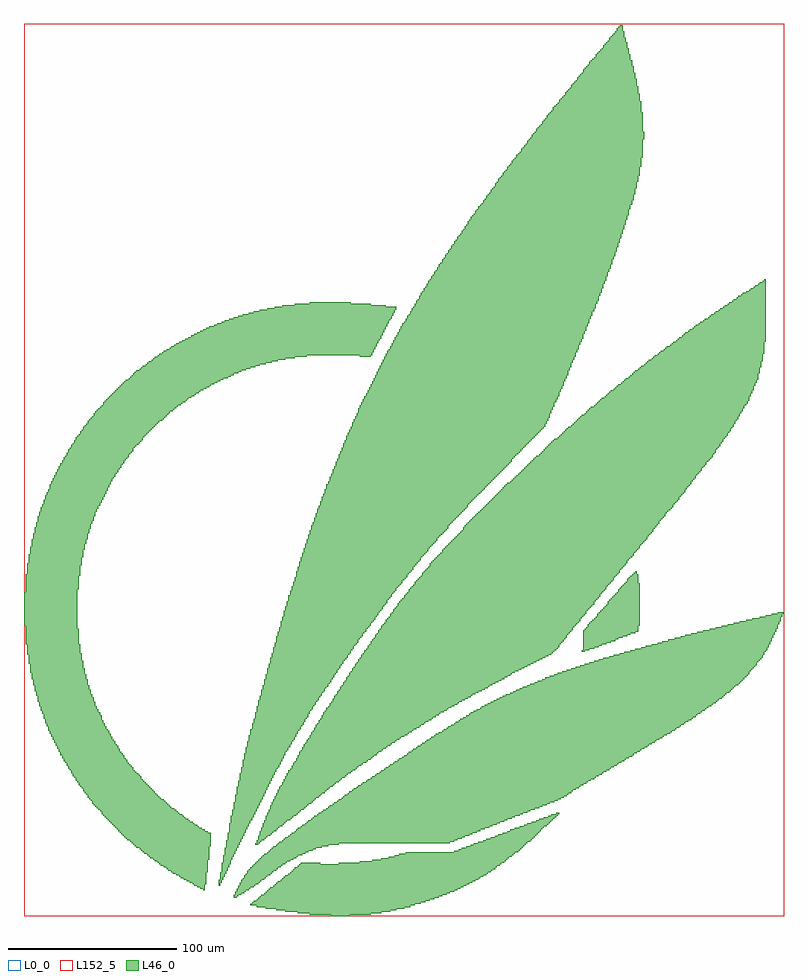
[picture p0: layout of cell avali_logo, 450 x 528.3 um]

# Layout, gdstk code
import gdstk
lib = gdstk.Library(unit=1e-6, precision=1e-09)
def R(c, l, rs):  # rectangles x0, y0, x1, y1
    for r in rs: c.add(gdstk.rectangle(r[:2], r[2:], *l))
L0_0 = (0, 0)
L46_0 = (46, 0)
L152_5 = (152, 5)

avali_logo = lib.new_cell('avali_logo')
R(avali_logo, L0_0, [(0,0,450,528.3)])
R(avali_logo, L46_0, [(181.8,0,192.6,0.9), (169.2,0.9,205.2,1.8), (162,1.8,211.5,2.7), (154.8,2.7,216.9,3.6), (149.4,3.6,220.5,4.5), (143.1,4.5,225,5.4), (137.7,5.4,228.6,6.3), (134.1,6.3,231.3,7.2), (135,7.2,234.9,8.1), (135.9,8.1,237.6,9), (137.7,9,240.3,9.9), (138.6,9.9,243,10.8), (124.2,10.8,126,11.7), (139.5,10.8,245.7,11.7), (124.2,11.7,126.9,12.6), (140.4,11.7,247.5,12.6), (125.1,12.6,128.7,13.5), (142.2,12.6,250.2,13.5), (125.1,13.5,130.5,14.4), (143.1,13.5,252,14.4), (126,14.4,131.4,15.3), (144,14.4,254.7,15.3), (106.2,15.3,107.1,16.2), (126,15.3,133.2,16.2), (144.9,15.3,256.5,16.2), (104.4,16.2,107.1,17.1), (126.9,16.2,134.1,17.1), (145.8,16.2,258.3,17.1), (102.6,17.1,107.1,18), (126.9,17.1,135.9,18), (147.6,17.1,260.1,18), (100.8,18,107.1,18.9), (115.2,18,116.1,19.8), (127.8,18,136.8,18.9), (148.5,18,261.9,18.9), (99.9,18.9,108,19.8), (127.8,18.9,138.6,19.8), (149.4,18.9,263.7,19.8), (98.1,19.8,108,20.7), (115.2,19.8,117,21.6), (128.7,19.8,139.5,20.7), (150.3,19.8,265.5,20.7), (96.3,20.7,108,21.6), (128.7,20.7,140.4,21.6), (152.1,20.7,267.3,21.6), (94.5,21.6,108,22.5), (116.1,21.6,117.9,23.4), (129.6,21.6,142.2,22.5), (153,21.6,269.1,22.5), (92.7,22.5,108,23.4), (130.5,22.5,143.1,23.4), (153.9,22.5,270,23.4), (91.8,23.4,108,24.3), (116.1,23.4,118.8,25.2), (130.5,23.4,144,24.3), (154.8,23.4,271.8,24.3), (90,24.3,108,25.2), (131.4,24.3,145.8,25.2), (156.6,24.3,273.6,25.2), (88.2,25.2,108,26.1), (116.1,25.2,119.7,26.1), (132.3,25.2,146.7,26.1), (157.5,25.2,274.5,26.1), (87.3,26.1,108.9,27), (117,26.1,119.7,27), (132.3,26.1,147.6,27), (158.4,26.1,276.3,27), (85.5,27,108.9,27.9), (117,27,120.6,28.8), (133.2,27,149.4,27.9), (159.3,27,277.2,27.9), (84.6,27.9,108.9,28.8), (134.1,27.9,150.3,28.8), (160.2,27.9,279,28.8), (82.8,28.8,108.9,29.7), (117,28.8,121.5,30.6), (135,28.8,152.1,29.7), (162,28.8,279.9,29.7), (81,29.7,108.9,30.6), (135.9,29.7,153,30.6), (162.9,29.7,281.7,30.6), (80.1,30.6,108.9,31.5), (117,30.6,122.4,31.5), (136.8,30.6,154.8,31.5), (163.8,30.6,175.5,31.5), (186.3,30.6,282.6,31.5), (79.2,31.5,108.9,32.4), (117.9,31.5,122.4,33.3), (137.7,31.5,155.7,32.4), (198.9,31.5,284.4,32.4), (77.4,32.4,108.9,33.3), (138.6,32.4,157.5,33.3), (206.1,32.4,285.3,33.3), (76.5,33.3,109.8,34.2), (117.9,33.3,123.3,35.1), (139.5,33.3,159.3,34.2), (211.5,33.3,286.2,34.2), (74.7,34.2,109.8,35.1), (140.4,34.2,161.1,35.1), (216,34.2,287.1,35.1), (73.8,35.1,109.8,36), (117.9,35.1,124.2,36), (141.3,35.1,162,36), (219.6,35.1,288.9,36), (72.9,36,109.8,36.9), (118.8,36,124.2,36.9), (142.2,36,164.7,36.9), (222.3,36,289.8,36.9), (71.1,36.9,109.8,37.8), (118.8,36.9,125.1,38.7), (144,36.9,166.5,37.8), (225.9,36.9,290.7,37.8), (70.2,37.8,109.8,38.7), (144.9,37.8,168.3,38.7), (254.7,37.8,292.5,38.7), (69.3,38.7,109.8,39.6), (118.8,38.7,126,40.5), (145.8,38.7,171,39.6), (257.4,38.7,293.4,39.6), (68.4,39.6,109.8,40.5), (146.7,39.6,172.8,40.5), (259.2,39.6,294.3,40.5), (66.6,40.5,109.8,41.4), (119.7,40.5,126.9,42.3), (147.6,40.5,176.4,41.4), (261.9,40.5,295.2,41.4), (65.7,41.4,110.7,42.3), (149.4,41.4,180,42.3), (264.6,41.4,296.1,42.3), (64.8,42.3,110.7,43.2), (119.7,42.3,127.8,44.1), (136.8,42.3,138.6,43.2), (150.3,42.3,186.3,43.2), (266.4,42.3,297,43.2), (63.9,43.2,110.7,44.1), (137.7,43.2,139.5,44.1), (151.2,43.2,252,44.1), (269.1,43.2,297.9,44.1), (63,44.1,110.7,45), (119.7,44.1,128.7,45), (137.7,44.1,140.4,45), (153,44.1,254.7,45), (271.8,44.1,299.7,45), (61.2,45,110.7,45.9), (120.6,45,128.7,45.9), (138.6,45,142.2,45.9), (153.9,45,256.5,45.9), (273.6,45,300.6,45.9), (60.3,45.9,110.7,46.8), (120.6,45.9,129.6,47.7), (138.6,45.9,143.1,46.8), (154.8,45.9,259.2,46.8), (276.3,45.9,301.5,46.8), (59.4,46.8,110.7,47.7), (138.6,46.8,144,47.7), (156.6,46.8,261,47.7), (279,46.8,302.4,47.7), (58.5,47.7,110.7,48.6), (120.6,47.7,130.5,49.5), (139.5,47.7,145.8,48.6), (157.5,47.7,263.7,48.6), (280.8,47.7,303.3,48.6), (57.6,48.6,110.7,49.5), (139.5,48.6,146.7,49.5), (158.4,48.6,265.5,49.5), (283.5,48.6,304.2,49.5), (56.7,49.5,108.9,50.4), (121.5,49.5,131.4,51.3), (139.5,49.5,147.6,50.4), (160.2,49.5,268.2,50.4), (286.2,49.5,305.1,50.4), (55.8,50.4,107.1,51.3), (140.4,50.4,149.4,51.3), (161.1,50.4,270,51.3), (288,50.4,306,51.3), (54.9,51.3,105.3,52.2), (121.5,51.3,132.3,53.1), (140.4,51.3,150.3,52.2), (162,51.3,272.7,52.2), (290.7,51.3,306.9,52.2), (54,52.2,103.5,53.1), (141.3,52.2,151.2,53.1), (163.8,52.2,275.4,53.1), (293.4,52.2,307.8,53.1), (53.1,53.1,102.6,54), (121.5,53.1,133.2,54.9), (141.3,53.1,153,54), (164.7,53.1,277.2,54), (296.1,53.1,309.6,54), (52.2,54,100.8,54.9), (141.3,54,153.9,54.9), (166.5,54,279.9,54.9), (297.9,54,310.5,54.9), (51.3,54.9,99.9,55.8), (122.4,54.9,134.1,56.7), (142.2,54.9,154.8,55.8), (167.4,54.9,281.7,55.8), (300.6,54.9,311.4,55.8), (50.4,55.8,98.1,56.7), (142.2,55.8,155.7,56.7), (168.3,55.8,284.4,56.7), (303.3,55.8,312.3,56.7), (49.5,56.7,97.2,57.6), (122.4,56.7,135,58.5), (143.1,56.7,157.5,57.6), (170.1,56.7,286.2,57.6), (305.1,56.7,313.2,57.6), (48.6,57.6,95.4,58.5), (143.1,57.6,158.4,58.5), (171,57.6,288.9,58.5), (307.8,57.6,314.1,58.5), (47.7,58.5,94.5,59.4), (122.4,58.5,135.9,59.4), (143.1,58.5,159.3,59.4), (171.9,58.5,290.7,59.4), (310.5,58.5,315,59.4), (46.8,59.4,93.6,60.3), (123.3,59.4,135.9,60.3), (144,59.4,161.1,60.3), (173.7,59.4,293.4,60.3), (312.3,59.4,315.9,60.3), (45.9,60.3,91.8,61.2), (123.3,60.3,136.8,62.1), (144,60.3,162,61.2), (174.6,60.3,295.2,61.2), (315,60.3,316.8,61.2), (45.9,61.2,90.9,62.1), (144.9,61.2,162.9,62.1), (176.4,61.2,297.9,62.1), (45,62.1,90,63), (123.3,62.1,137.7,63), (144.9,62.1,163.8,63), (177.3,62.1,299.7,63), (44.1,63,89.1,63.9), (124.2,63,137.7,63.9), (145.8,63,165.6,63.9), (179.1,63,302.4,63.9), (43.2,63.9,87.3,64.8), (124.2,63.9,138.6,65.7), (145.8,63.9,166.5,64.8), (180,63.9,305.1,64.8), (42.3,64.8,86.4,65.7), (145.8,64.8,167.4,65.7), (180.9,64.8,306.9,65.7), (41.4,65.7,85.5,66.6), (124.2,65.7,139.5,67.5), (146.7,65.7,168.3,66.6), (182.7,65.7,309.6,66.6), (40.5,66.6,84.6,67.5), (146.7,66.6,170.1,67.5), (183.6,66.6,311.4,67.5), (40.5,67.5,83.7,68.4), (125.1,67.5,140.4,69.3), (147.6,67.5,171,68.4), (185.4,67.5,314.1,68.4), (39.6,68.4,82.8,69.3), (147.6,68.4,171.9,69.3), (186.3,68.4,315.9,69.3), (38.7,69.3,81,70.2), (125.1,69.3,141.3,71.1), (148.5,69.3,172.8,70.2), (188.1,69.3,317.7,70.2), (37.8,70.2,80.1,71.1), (148.5,70.2,174.6,71.1), (189,70.2,319.5,71.1), (37.8,71.1,79.2,72), (125.1,71.1,142.2,72), (149.4,71.1,175.5,72), (189.9,71.1,321.3,72), (36.9,72,78.3,72.9), (126,72,142.2,72.9), (149.4,72,176.4,72.9), (191.7,72,322.2,72.9), (36,72.9,77.4,73.8), (126,72.9,143.1,74.7), (150.3,72.9,178.2,73.8), (192.6,72.9,324,73.8), (35.1,73.8,76.5,74.7), (150.3,73.8,179.1,74.7), (194.4,73.8,324.9,74.7), (35.1,74.7,75.6,75.6), (126,74.7,144,76.5), (151.2,74.7,180,75.6), (195.3,74.7,326.7,75.6), (34.2,75.6,74.7,76.5), (151.2,75.6,180.9,76.5), (197.1,75.6,328.5,76.5), (33.3,76.5,73.8,77.4), (126.9,76.5,144.9,78.3), (152.1,76.5,182.7,77.4), (198,76.5,329.4,77.4), (32.4,77.4,72.9,78.3), (153,77.4,183.6,78.3), (199.8,77.4,331.2,78.3), (32.4,78.3,72,79.2), (126.9,78.3,145.8,80.1), (153,78.3,184.5,79.2), (200.7,78.3,333,79.2), (31.5,79.2,71.1,80.1), (153.9,79.2,186.3,80.1), (202.5,79.2,333.9,80.1), (30.6,80.1,70.2,81), (127.8,80.1,146.7,81.9), (153.9,80.1,187.2,81), (203.4,80.1,335.7,81), (30.6,81,69.3,81.9), (154.8,81,188.1,81.9), (205.2,81,337.5,81.9), (29.7,81.9,69.3,82.8), (127.8,81.9,147.6,83.7), (154.8,81.9,189.9,82.8), (206.1,81.9,338.4,82.8), (28.8,82.8,68.4,83.7), (155.7,82.8,190.8,83.7), (207.9,82.8,340.2,83.7), (28.8,83.7,67.5,84.6), (127.8,83.7,148.5,84.6), (155.7,83.7,191.7,84.6), (208.8,83.7,342,84.6), (27.9,84.6,66.6,85.5), (128.7,84.6,148.5,85.5), (156.6,84.6,193.5,85.5), (210.6,84.6,342.9,85.5), (27.9,85.5,65.7,86.4), (128.7,85.5,149.4,87.3), (156.6,85.5,194.4,86.4), (211.5,85.5,344.7,86.4), (27,86.4,64.8,87.3), (157.5,86.4,196.2,87.3), (213.3,86.4,346.5,87.3), (26.1,87.3,64.8,88.2), (128.7,87.3,150.3,88.2), (158.4,87.3,197.1,88.2), (214.2,87.3,347.4,88.2), (26.1,88.2,63.9,89.1), (129.6,88.2,151.2,90), (158.4,88.2,198,89.1), (216,88.2,349.2,89.1), (25.2,89.1,63,90), (159.3,89.1,199.8,90), (216.9,89.1,351,90), (25.2,90,62.1,90.9), (129.6,90,152.1,91.8), (159.3,90,200.7,90.9), (218.7,90,351.9,90.9), (24.3,90.9,61.2,91.8), (160.2,90.9,202.5,91.8), (219.6,90.9,353.7,91.8), (23.4,91.8,61.2,92.7), (129.6,91.8,153,92.7), (161.1,91.8,203.4,92.7), (221.4,91.8,355.5,92.7), (23.4,92.7,60.3,93.6), (130.5,92.7,153,93.6), (161.1,92.7,205.2,93.6), (222.3,92.7,356.4,93.6), (22.5,93.6,59.4,95.4), (130.5,93.6,153.9,95.4), (162,93.6,206.1,94.5), (224.1,93.6,358.2,94.5), (162,94.5,207,95.4), (225,94.5,360,95.4), (21.6,95.4,58.5,96.3), (130.5,95.4,154.8,96.3), (162.9,95.4,208.8,96.3), (226.8,95.4,360.9,96.3), (21.6,96.3,57.6,97.2), (131.4,96.3,154.8,97.2), (162.9,96.3,209.7,97.2), (227.7,96.3,362.7,97.2), (20.7,97.2,56.7,99), (131.4,97.2,155.7,98.1), (163.8,97.2,211.5,98.1), (229.5,97.2,364.5,98.1), (131.4,98.1,156.6,99.9), (164.7,98.1,212.4,99), (230.4,98.1,365.4,99), (19.8,99,55.8,100.8), (164.7,99,214.2,99.9), (232.2,99,367.2,99.9), (132.3,99.9,157.5,101.7), (165.6,99.9,215.1,100.8), (233.1,99.9,369,100.8), (18.9,100.8,54.9,101.7), (165.6,100.8,216.9,101.7), (234.9,100.8,369.9,101.7), (18.9,101.7,54,102.6), (132.3,101.7,158.4,103.5), (166.5,101.7,217.8,102.6), (235.8,101.7,371.7,102.6), (18,102.6,54,103.5), (167.4,102.6,219.6,103.5), (237.6,102.6,373.5,103.5), (18,103.5,53.1,104.4), (133.2,103.5,159.3,104.4), (167.4,103.5,220.5,104.4), (238.5,103.5,374.4,104.4), (17.1,104.4,52.2,106.2), (133.2,104.4,160.2,106.2), (168.3,104.4,222.3,105.3), (240.3,104.4,376.2,105.3), (169.2,105.3,223.2,106.2), (241.2,105.3,378,106.2), (16.2,106.2,51.3,108), (133.2,106.2,161.1,107.1), (169.2,106.2,225,107.1), (243,106.2,378.9,107.1), (134.1,107.1,161.1,108), (170.1,107.1,226.8,108), (243.9,107.1,380.7,108), (15.3,108,50.4,109.8), (134.1,108,162,109.8), (170.1,108,227.7,108.9), (245.7,108,382.5,108.9), (171,108.9,229.5,109.8), (247.5,108.9,383.4,109.8), (14.4,109.8,49.5,110.7), (134.1,109.8,162.9,110.7), (171.9,109.8,230.4,110.7), (248.4,109.8,385.2,110.7), (14.4,110.7,48.6,112.5), (135,110.7,163.8,112.5), (171.9,110.7,232.2,111.6), (250.2,110.7,386.1,111.6), (172.8,111.6,234,112.5), (251.1,111.6,387.9,112.5), (13.5,112.5,47.7,114.3), (135,112.5,164.7,113.4), (172.8,112.5,234.9,113.4), (252.9,112.5,388.8,113.4), (135,113.4,165.6,114.3), (173.7,113.4,236.7,114.3), (254.7,113.4,390.6,114.3), (12.6,114.3,46.8,116.1), (135.9,114.3,165.6,115.2), (174.6,114.3,237.6,115.2), (255.6,114.3,391.5,115.2), (135.9,115.2,166.5,117), (174.6,115.2,239.4,116.1), (257.4,115.2,393.3,116.1), (12.6,116.1,45.9,117), (175.5,116.1,241.2,117), (258.3,116.1,395.1,117), (11.7,117,45.9,118.8), (136.8,117,167.4,117.9), (176.4,117,242.1,117.9), (260.1,117,396,117.9), (136.8,117.9,168.3,119.7), (176.4,117.9,243.9,118.8), (261.9,117.9,397.8,118.8), (11.7,118.8,45,119.7), (177.3,118.8,245.7,119.7), (263.7,118.8,398.7,119.7), (10.8,119.7,45,120.6), (136.8,119.7,169.2,120.6), (177.3,119.7,246.6,120.6), (264.6,119.7,400.5,120.6), (10.8,120.6,44.1,121.5), (137.7,120.6,169.2,121.5), (178.2,120.6,248.4,121.5), (266.4,120.6,401.4,121.5), (9.9,121.5,44.1,122.4), (137.7,121.5,170.1,122.4), (179.1,121.5,250.2,122.4), (268.2,121.5,403.2,122.4), (9.9,122.4,43.2,124.2), (137.7,122.4,171,124.2), (179.1,122.4,251.1,123.3), (270,122.4,404.1,123.3), (180,123.3,252.9,124.2), (270.9,123.3,405,124.2), (9,124.2,42.3,126.9), (138.6,124.2,171.9,125.1), (180.9,124.2,254.7,125.1), (272.7,124.2,406.8,125.1), (138.6,125.1,172.8,126.9), (180.9,125.1,256.5,126), (274.5,125.1,407.7,126), (181.8,126,257.4,126.9), (276.3,126,409.5,126.9), (8.1,126.9,41.4,129.6), (138.6,126.9,173.7,127.8), (182.7,126.9,259.2,127.8), (278.1,126.9,410.4,127.8), (139.5,127.8,174.6,129.6), (182.7,127.8,261,128.7), (279.9,127.8,411.3,128.7), (183.6,128.7,262.8,129.6), (281.7,128.7,413.1,129.6), (8.1,129.6,40.5,130.5), (139.5,129.6,175.5,130.5), (183.6,129.6,264.6,130.5), (283.5,129.6,414,130.5), (7.2,130.5,40.5,131.4), (140.4,130.5,176.4,132.3), (184.5,130.5,265.5,131.4), (285.3,130.5,414.9,131.4), (7.2,131.4,39.6,133.2), (185.4,131.4,267.3,132.3), (288,131.4,415.8,132.3), (140.4,132.3,177.3,133.2), (185.4,132.3,269.1,133.2), (289.8,132.3,417.6,133.2), (6.3,133.2,39.6,134.1), (140.4,133.2,178.2,134.1), (186.3,133.2,270.9,134.1), (291.6,133.2,418.5,134.1), (6.3,134.1,38.7,136.8), (141.3,134.1,178.2,135), (187.2,134.1,272.7,135), (293.4,134.1,419.4,135), (141.3,135,179.1,135.9), (187.2,135,274.5,135.9), (295.2,135,420.3,135.9), (141.3,135.9,180,136.8), (188.1,135.9,275.4,136.8), (297.9,135.9,421.2,136.8), (5.4,136.8,37.8,140.4), (142.2,136.8,180,137.7), (189,136.8,277.2,137.7), (299.7,136.8,423,137.7), (142.2,137.7,180.9,138.6), (189,137.7,279,138.6), (302.4,137.7,423.9,138.6), (142.2,138.6,181.8,140.4), (189.9,138.6,280.8,139.5), (304.2,138.6,424.8,139.5), (190.8,139.5,282.6,140.4), (306.9,139.5,425.7,140.4), (4.5,140.4,36.9,143.1), (143.1,140.4,182.7,141.3), (190.8,140.4,284.4,141.3), (308.7,140.4,426.6,141.3), (143.1,141.3,183.6,143.1), (191.7,141.3,286.2,142.2), (311.4,141.3,427.5,142.2), (192.6,142.2,288,143.1), (314.1,142.2,428.4,143.1), (4.5,143.1,36,144), (144,143.1,184.5,144), (192.6,143.1,288.9,144), (315.9,143.1,429.3,144), (3.6,144,36,146.7), (144,144,185.4,145.8), (193.5,144,290.7,144.9), (318.6,144,429.3,144.9), (194.4,144.9,292.5,145.8), (321.3,144.9,430.2,145.8), (144,145.8,186.3,146.7), (194.4,145.8,294.3,146.7), (324,145.8,431.1,146.7), (3.6,146.7,35.1,149.4), (144.9,146.7,187.2,148.5), (195.3,146.7,296.1,147.6), (326.7,146.7,432,147.6), (196.2,147.6,297.9,148.5), (329.4,147.6,432.9,148.5), (144.9,148.5,188.1,149.4), (196.2,148.5,299.7,149.4), (332.1,148.5,433.8,149.4), (2.7,149.4,35.1,151.2), (145.8,149.4,189,151.2), (197.1,149.4,301.5,150.3), (334.8,149.4,433.8,150.3), (198,150.3,303.3,151.2), (337.5,150.3,434.7,151.2), (2.7,151.2,34.2,154.8), (145.8,151.2,189.9,152.1), (198,151.2,305.1,152.1), (340.2,151.2,435.6,152.1), (145.8,152.1,190.8,153), (198.9,152.1,306.9,153), (342.9,152.1,436.5,153), (146.7,153,191.7,154.8), (199.8,153,308.7,153.9), (346.5,153,437.4,153.9), (199.8,153.9,310.5,154.8), (349.2,153.9,437.4,154.8), (1.8,154.8,34.2,155.7), (146.7,154.8,192.6,155.7), (200.7,154.8,312.3,155.7), (352.8,154.8,438.3,155.7), (1.8,155.7,33.3,161.1), (147.6,155.7,193.5,157.5), (201.6,155.7,313.2,156.6), (355.5,155.7,438.3,156.6), (201.6,156.6,314.1,157.5), (330.3,156.6,332.1,157.5), (359.1,156.6,439.2,157.5), (147.6,157.5,194.4,158.4), (202.5,157.5,315,158.4), (331.2,157.5,334.8,158.4), (361.8,157.5,440.1,158.4), (147.6,158.4,195.3,159.3), (203.4,158.4,315.9,159.3), (331.2,158.4,337.5,159.3), (365.4,158.4,440.1,159.3), (148.5,159.3,195.3,160.2), (203.4,159.3,316.8,160.2), (331.2,159.3,340.2,160.2), (368.1,159.3,441,160.2), (148.5,160.2,196.2,161.1), (204.3,160.2,316.8,161.1), (331.2,160.2,342,161.1), (371.7,160.2,441,161.1), (0.9,161.1,32.4,170.1), (148.5,161.1,197.1,162), (205.2,161.1,317.7,162), (331.2,161.1,344.7,162), (375.3,161.1,441.9,162), (149.4,162,198,163.8), (205.2,162,318.6,162.9), (331.2,162,347.4,162.9), (378,162,441.9,162.9), (206.1,162.9,319.5,163.8), (331.2,162.9,350.1,163.8), (381.6,162.9,442.8,163.8), (149.4,163.8,198.9,164.7), (207,163.8,320.4,164.7), (331.2,163.8,351.9,164.7), (385.2,163.8,442.8,164.7), (149.4,164.7,199.8,165.6), (207.9,164.7,321.3,166.5), (331.2,164.7,354.6,165.6), (388.8,164.7,443.7,165.6), (150.3,165.6,200.7,167.4), (331.2,165.6,357.3,166.5), (391.5,165.6,443.7,166.5), (208.8,166.5,322.2,167.4), (331.2,166.5,359.1,167.4), (395.1,166.5,444.6,167.4), (150.3,167.4,201.6,168.3), (209.7,167.4,323.1,168.3), (331.2,167.4,361.8,168.3), (398.7,167.4,444.6,168.3), (151.2,168.3,202.5,170.1), (209.7,168.3,324,169.2), (331.2,168.3,363.6,169.2), (402.3,168.3,445.5,169.2), (210.6,169.2,324.9,170.1), (332.1,169.2,363.6,170.1), (405.9,169.2,445.5,170.1), (0.9,170.1,31.5,171.9), (151.2,170.1,203.4,171), (211.5,170.1,324.9,171), (333,170.1,363.6,171), (409.5,170.1,446.4,171), (152.1,171,204.3,171.9), (211.5,171,325.8,171.9), (333.9,171,363.6,171.9), (413.1,171,446.4,171.9), (0,171.9,31.5,191.7), (152.1,171.9,205.2,173.7), (212.4,171.9,326.7,172.8), (333.9,171.9,364.5,172.8), (416.7,171.9,446.4,172.8), (213.3,172.8,327.6,173.7), (334.8,172.8,364.5,173.7), (420.3,172.8,447.3,173.7), (152.1,173.7,206.1,174.6), (214.2,173.7,328.5,174.6), (335.7,173.7,364.5,174.6), (423.9,173.7,447.3,174.6), (153,174.6,207,175.5), (214.2,174.6,329.4,175.5), (336.6,174.6,364.5,175.5), (427.5,174.6,448.2,175.5), (153,175.5,207.9,177.3), (215.1,175.5,329.4,176.4), (337.5,175.5,364.5,176.4), (431.1,175.5,448.2,176.4), (216,176.4,330.3,177.3), (338.4,176.4,364.5,177.3), (435.6,176.4,448.2,177.3), (153.9,177.3,208.8,178.2), (216.9,177.3,331.2,178.2), (339.3,177.3,364.5,179.1), (439.2,177.3,449.1,178.2), (153.9,178.2,209.7,180), (216.9,178.2,332.1,179.1), (442.8,178.2,449.1,179.1), (217.8,179.1,333,180), (340.2,179.1,364.5,180), (446.4,179.1,450,180), (153.9,180,210.6,180.9), (218.7,180,333,180.9), (341.1,180,364.5,180.9), (154.8,180.9,211.5,181.8), (218.7,180.9,333.9,181.8), (342,180.9,364.5,181.8), (154.8,181.8,212.4,183.6), (219.6,181.8,334.8,182.7), (342.9,181.8,364.5,182.7), (220.5,182.7,335.7,183.6), (343.8,182.7,364.5,183.6), (155.7,183.6,213.3,184.5), (221.4,183.6,336.6,184.5), (344.7,183.6,364.5,184.5), (155.7,184.5,214.2,185.4), (221.4,184.5,337.5,185.4), (345.6,184.5,364.5,186.3), (155.7,185.4,215.1,186.3), (222.3,185.4,337.5,186.3), (156.6,186.3,215.1,187.2), (223.2,186.3,338.4,187.2), (346.5,186.3,364.5,187.2), (156.6,187.2,216,188.1), (224.1,187.2,339.3,188.1), (347.4,187.2,364.5,188.1), (156.6,188.1,216.9,189), (225,188.1,340.2,189), (348.3,188.1,364.5,189), (156.6,189,217.8,189.9), (225,189,341.1,189.9), (349.2,189,364.5,189.9), (157.5,189.9,217.8,190.8), (225.9,189.9,341.1,190.8), (350.1,189.9,364.5,190.8), (157.5,190.8,218.7,191.7), (226.8,190.8,342,191.7), (351,190.8,364.5,191.7), (0.9,191.7,31.5,193.5), (157.5,191.7,219.6,192.6), (227.7,191.7,342.9,192.6), (351.9,191.7,364.5,193.5), (158.4,192.6,220.5,194.4), (227.7,192.6,343.8,193.5), (0.9,193.5,32.4,201.6), (228.6,193.5,344.7,194.4), (352.8,193.5,364.5,194.4), (158.4,194.4,221.4,195.3), (229.5,194.4,344.7,195.3), (353.7,194.4,364.5,195.3), (159.3,195.3,222.3,196.2), (230.4,195.3,345.6,196.2), (354.6,195.3,364.5,196.2), (159.3,196.2,223.2,197.1), (231.3,196.2,346.5,197.1), (355.5,196.2,364.5,197.1), (159.3,197.1,224.1,198), (231.3,197.1,347.4,198), (356.4,197.1,363.6,198), (160.2,198,224.1,198.9), (232.2,198,348.3,198.9), (357.3,198,363.6,199.8), (160.2,198.9,225,199.8), (233.1,198.9,349.2,199.8), (160.2,199.8,225.9,200.7), (234,199.8,349.2,200.7), (358.2,199.8,363.6,200.7), (161.1,200.7,226.8,202.5), (234.9,200.7,350.1,201.6), (359.1,200.7,363.6,201.6), (0.9,201.6,33.3,202.5), (235.8,201.6,351,202.5), (360,201.6,363.6,202.5), (1.8,202.5,33.3,207.9), (161.1,202.5,227.7,203.4), (235.8,202.5,351.9,203.4), (360.9,202.5,362.7,203.4), (161.1,203.4,228.6,204.3), (236.7,203.4,352.8,204.3), (361.8,203.4,362.7,204.3), (162,204.3,229.5,205.2), (237.6,204.3,352.8,205.2), (162,205.2,230.4,207), (238.5,205.2,353.7,206.1), (239.4,206.1,354.6,207), (162.9,207,231.3,207.9), (240.3,207,355.5,207.9), (1.8,207.9,34.2,208.8), (162.9,207.9,232.2,208.8), (240.3,207.9,356.4,208.8), (2.7,208.8,34.2,212.4), (162.9,208.8,233.1,209.7), (241.2,208.8,357.3,209.7), (163.8,209.7,234,210.6), (242.1,209.7,357.3,210.6), (163.8,210.6,234.9,212.4), (243,210.6,358.2,211.5), (243.9,211.5,359.1,212.4), (2.7,212.4,35.1,214.2), (164.7,212.4,235.8,213.3), (244.8,212.4,360,213.3), (164.7,213.3,236.7,214.2), (245.7,213.3,360.9,214.2), (3.6,214.2,35.1,216.9), (164.7,214.2,237.6,215.1), (246.6,214.2,360.9,215.1), (165.6,215.1,238.5,216), (247.5,215.1,361.8,216), (165.6,216,239.4,217.8), (247.5,216,362.7,216.9), (3.6,216.9,36,218.7), (248.4,216.9,363.6,217.8), (166.5,217.8,240.3,218.7), (249.3,217.8,364.5,218.7), (4.5,218.7,36,220.5), (166.5,218.7,241.2,219.6), (250.2,218.7,364.5,219.6), (166.5,219.6,242.1,220.5), (251.1,219.6,365.4,220.5), (4.5,220.5,36.9,223.2), (167.4,220.5,243,221.4), (252,220.5,366.3,221.4), (167.4,221.4,243.9,222.3), (252.9,221.4,367.2,222.3), (167.4,222.3,244.8,223.2), (253.8,222.3,368.1,223.2), (5.4,223.2,37.8,226.8), (168.3,223.2,244.8,224.1), (254.7,223.2,369,224.1), (168.3,224.1,245.7,225), (255.6,224.1,369,225), (168.3,225,246.6,225.9), (256.5,225,369.9,225.9), (169.2,225.9,247.5,226.8), (257.4,225.9,370.8,226.8), (6.3,226.8,38.7,229.5), (169.2,226.8,248.4,227.7), (258.3,226.8,371.7,227.7), (169.2,227.7,249.3,228.6), (259.2,227.7,372.6,228.6), (170.1,228.6,250.2,229.5), (260.1,228.6,372.6,229.5), (6.3,229.5,39.6,230.4), (170.1,229.5,251.1,231.3), (260.1,229.5,373.5,230.4), (7.2,230.4,39.6,232.2), (261,230.4,374.4,231.3), (171,231.3,252,232.2), (261.9,231.3,375.3,232.2), (7.2,232.2,40.5,233.1), (171,232.2,252.9,233.1), (262.8,232.2,376.2,233.1), (8.1,233.1,40.5,234), (171.9,233.1,253.8,234), (263.7,233.1,376.2,234), (8.1,234,41.4,236.7), (171.9,234,254.7,234.9), (264.6,234,377.1,234.9), (171.9,234.9,255.6,235.8), (265.5,234.9,378,235.8), (172.8,235.8,256.5,236.7), (266.4,235.8,378.9,236.7), (9,236.7,42.3,239.4), (172.8,236.7,257.4,237.6), (267.3,236.7,379.8,237.6), (172.8,237.6,258.3,238.5), (268.2,237.6,379.8,238.5), (173.7,238.5,259.2,239.4), (269.1,238.5,380.7,239.4), (9.9,239.4,43.2,241.2), (173.7,239.4,260.1,240.3), (270,239.4,381.6,240.3), (173.7,240.3,261,241.2), (270.9,240.3,382.5,241.2), (9.9,241.2,44.1,242.1), (174.6,241.2,261.9,242.1), (271.8,241.2,383.4,242.1), (10.8,242.1,44.1,243), (174.6,242.1,262.8,243), (272.7,242.1,384.3,243), (10.8,243,45,243.9), (175.5,243,262.8,243.9), (273.6,243,384.3,243.9), (11.7,243.9,45,244.8), (175.5,243.9,263.7,244.8), (274.5,243.9,385.2,244.8), (11.7,244.8,45.9,246.6), (175.5,244.8,264.6,245.7), (275.4,244.8,386.1,245.7), (176.4,245.7,265.5,246.6), (276.3,245.7,387,246.6), (12.6,246.6,46.8,248.4), (176.4,246.6,266.4,247.5), (277.2,246.6,387.9,247.5), (176.4,247.5,267.3,248.4), (278.1,247.5,387.9,248.4), (12.6,248.4,47.7,249.3), (177.3,248.4,268.2,249.3), (279,248.4,388.8,249.3), (13.5,249.3,47.7,250.2), (177.3,249.3,269.1,250.2), (279.9,249.3,389.7,250.2), (13.5,250.2,48.6,251.1), (178.2,250.2,270,251.1), (280.8,250.2,390.6,251.1), (14.4,251.1,48.6,252), (178.2,251.1,270.9,252), (281.7,251.1,391.5,252), (14.4,252,49.5,252.9), (178.2,252,271.8,252.9), (282.6,252,391.5,252.9), (15.3,252.9,49.5,253.8), (179.1,252.9,272.7,253.8), (283.5,252.9,392.4,253.8), (15.3,253.8,50.4,255.6), (179.1,253.8,273.6,254.7), (284.4,253.8,393.3,254.7), (179.1,254.7,274.5,255.6), (285.3,254.7,394.2,255.6), (16.2,255.6,51.3,257.4), (180,255.6,275.4,256.5), (286.2,255.6,395.1,256.5), (180,256.5,276.3,257.4), (288,256.5,395.1,257.4), (17.1,257.4,52.2,259.2), (180.9,257.4,277.2,258.3), (288.9,257.4,396,258.3), (180.9,258.3,278.1,259.2), (289.8,258.3,396.9,259.2), (18,259.2,53.1,260.1), (180.9,259.2,279,260.1), (290.7,259.2,397.8,260.1), (18,260.1,54,261), (181.8,260.1,279.9,261), (291.6,260.1,397.8,261), (18.9,261,54,261.9), (181.8,261,280.8,261.9), (292.5,261,398.7,261.9), (18.9,261.9,54.9,262.8), (182.7,261.9,281.7,262.8), (293.4,261.9,399.6,262.8), (19.8,262.8,55.8,264.6), (182.7,262.8,282.6,263.7), (294.3,262.8,400.5,263.7), (182.7,263.7,283.5,264.6), (295.2,263.7,401.4,264.6), (20.7,264.6,56.7,265.5), (183.6,264.6,284.4,265.5), (296.1,264.6,401.4,265.5), (20.7,265.5,57.6,266.4), (183.6,265.5,285.3,266.4), (297,265.5,402.3,266.4), (21.6,266.4,57.6,267.3), (184.5,266.4,286.2,267.3), (297.9,266.4,403.2,267.3), (21.6,267.3,58.5,268.2), (184.5,267.3,287.1,268.2), (298.8,267.3,404.1,268.2), (22.5,268.2,59.4,270), (184.5,268.2,288,269.1), (299.7,268.2,404.1,269.1), (185.4,269.1,288.9,270.9), (300.6,269.1,405,270), (23.4,270,60.3,270.9), (301.5,270,405.9,270.9), (23.4,270.9,61.2,271.8), (186.3,270.9,289.8,271.8), (302.4,270.9,406.8,271.8), (24.3,271.8,62.1,272.7), (186.3,271.8,290.7,272.7), (303.3,271.8,407.7,272.7), (25.2,272.7,62.1,273.6), (186.3,272.7,291.6,273.6), (305.1,272.7,407.7,273.6), (25.2,273.6,63,274.5), (187.2,273.6,292.5,274.5), (306,273.6,408.6,274.5), (26.1,274.5,63.9,275.4), (187.2,274.5,293.4,275.4), (306.9,274.5,409.5,275.4), (26.1,275.4,64.8,276.3), (188.1,275.4,294.3,276.3), (307.8,275.4,409.5,276.3), (27,276.3,64.8,277.2), (188.1,276.3,295.2,277.2), (308.7,276.3,410.4,277.2), (27.9,277.2,65.7,278.1), (189,277.2,296.1,278.1), (309.6,277.2,411.3,278.1), (27.9,278.1,66.6,279), (189,278.1,297,279), (310.5,278.1,412.2,279), (28.8,279,67.5,279.9), (189,279,297.9,279.9), (311.4,279,412.2,279.9), (29.7,279.9,68.4,280.8), (189.9,279.9,298.8,280.8), (312.3,279.9,413.1,280.8), (29.7,280.8,69.3,281.7), (189.9,280.8,299.7,281.7), (313.2,280.8,414,281.7), (30.6,281.7,70.2,283.5), (190.8,281.7,300.6,282.6), (314.1,281.7,414,282.6), (190.8,282.6,301.5,283.5), (315.9,282.6,414.9,283.5), (31.5,283.5,71.1,284.4), (190.8,283.5,302.4,284.4), (316.8,283.5,415.8,284.4), (32.4,284.4,72,285.3), (191.7,284.4,303.3,285.3), (317.7,284.4,416.7,285.3), (33.3,285.3,72.9,286.2), (191.7,285.3,304.2,286.2), (318.6,285.3,416.7,286.2), (33.3,286.2,73.8,287.1), (192.6,286.2,305.1,287.1), (319.5,286.2,417.6,287.1), (34.2,287.1,74.7,288), (192.6,287.1,306,288), (320.4,287.1,418.5,288), (35.1,288,75.6,288.9), (193.5,288,306.9,288.9), (321.3,288,418.5,288.9), (35.1,288.9,76.5,289.8), (193.5,288.9,307.8,289.8), (322.2,288.9,419.4,289.8), (36,289.8,77.4,290.7), (194.4,289.8,308.7,291.6), (324,289.8,420.3,290.7), (36.9,290.7,78.3,291.6), (324.9,290.7,420.3,291.6), (37.8,291.6,79.2,292.5), (194.4,291.6,309.6,292.5), (325.8,291.6,421.2,292.5), (37.8,292.5,80.1,293.4), (195.3,292.5,309.6,293.4), (326.7,292.5,421.2,293.4), (38.7,293.4,81.9,294.3), (195.3,293.4,310.5,294.3), (327.6,293.4,422.1,294.3), (39.6,294.3,82.8,295.2), (196.2,294.3,310.5,295.2), (328.5,294.3,423,295.2), (40.5,295.2,83.7,296.1), (196.2,295.2,311.4,296.1), (329.4,295.2,423,296.1), (41.4,296.1,84.6,297), (197.1,296.1,311.4,297.9), (330.3,296.1,423.9,297), (41.4,297,85.5,297.9), (332.1,297,423.9,297.9), (42.3,297.9,86.4,298.8), (198,297.9,312.3,299.7), (333,297.9,424.8,298.8), (43.2,298.8,88.2,299.7), (333.9,298.8,425.7,299.7), (44.1,299.7,89.1,300.6), (198,299.7,313.2,300.6), (334.8,299.7,425.7,300.6), (45,300.6,90,301.5), (198.9,300.6,313.2,301.5), (335.7,300.6,426.6,301.5), (45.9,301.5,90.9,302.4), (198.9,301.5,314.1,302.4), (337.5,301.5,426.6,302.4), (46.8,302.4,92.7,303.3), (199.8,302.4,314.1,304.2), (338.4,302.4,427.5,303.3), (46.8,303.3,93.6,304.2), (339.3,303.3,428.4,304.2), (47.7,304.2,95.4,305.1), (200.7,304.2,315,306), (340.2,304.2,428.4,305.1), (48.6,305.1,96.3,306), (341.1,305.1,429.3,306), (49.5,306,97.2,306.9), (201.6,306,315.9,307.8), (342,306,429.3,306.9), (50.4,306.9,99,307.8), (343.8,306.9,429.3,307.8), (51.3,307.8,100.8,308.7), (202.5,307.8,316.8,309.6), (344.7,307.8,430.2,308.7), (52.2,308.7,101.7,309.6), (345.6,308.7,430.2,309.6), (53.1,309.6,103.5,310.5), (203.4,309.6,316.8,310.5), (346.5,309.6,431.1,310.5), (54,310.5,104.4,311.4), (203.4,310.5,317.7,311.4), (347.4,310.5,431.1,311.4), (54.9,311.4,106.2,312.3), (204.3,311.4,317.7,312.3), (349.2,311.4,432,312.3), (55.8,312.3,108,313.2), (204.3,312.3,318.6,313.2), (350.1,312.3,432,313.2), (56.7,313.2,109.8,314.1), (205.2,313.2,318.6,314.1), (351,313.2,432,314.1), (57.6,314.1,110.7,315), (205.2,314.1,319.5,315), (351.9,314.1,432.9,315), (58.5,315,112.5,315.9), (206.1,315,319.5,316.8), (353.7,315,432.9,315.9), (59.4,315.9,114.3,316.8), (354.6,315.9,433.8,316.8), (60.3,316.8,116.1,317.7), (207,316.8,320.4,318.6), (355.5,316.8,433.8,317.7), (62.1,317.7,117.9,318.6), (356.4,317.7,434.7,318.6), (63,318.6,120.6,319.5), (207.9,318.6,321.3,320.4), (358.2,318.6,434.7,319.5), (63.9,319.5,122.4,320.4), (359.1,319.5,434.7,320.4), (64.8,320.4,124.2,321.3), (208.8,320.4,322.2,322.2), (360,320.4,434.7,321.3), (65.7,321.3,126.9,322.2), (360.9,321.3,435.6,322.2), (66.6,322.2,128.7,323.1), (209.7,322.2,322.2,323.1), (361.8,322.2,435.6,323.1), (68.4,323.1,131.4,324), (209.7,323.1,323.1,324), (363.6,323.1,435.6,324), (69.3,324,134.1,324.9), (210.6,324,323.1,324.9), (364.5,324,435.6,324.9), (70.2,324.9,136.8,325.8), (210.6,324.9,324,325.8), (365.4,324.9,436.5,325.8), (72,325.8,139.5,326.7), (211.5,325.8,324,327.6), (367.2,325.8,436.5,326.7), (72.9,326.7,143.1,327.6), (368.1,326.7,436.5,327.6), (73.8,327.6,146.7,328.5), (212.4,327.6,324.9,329.4), (369,327.6,436.5,328.5), (75.6,328.5,150.3,329.4), (369.9,328.5,437.4,329.4), (76.5,329.4,154.8,330.3), (213.3,329.4,325.8,331.2), (371.7,329.4,437.4,330.3), (77.4,330.3,160.2,331.2), (372.6,330.3,437.4,331.2), (79.2,331.2,167.4,332.1), (198.9,331.2,205.2,332.1), (214.2,331.2,326.7,333), (373.5,331.2,437.4,332.1), (80.1,332.1,206.1,333), (375.3,332.1,437.4,333), (81.9,333,206.1,333.9), (215.1,333,326.7,333.9), (376.2,333,438.3,333.9), (82.8,333.9,207,334.8), (215.1,333.9,327.6,334.8), (377.1,333.9,438.3,334.8), (84.6,334.8,207,335.7), (216,334.8,327.6,335.7), (378.9,334.8,438.3,335.7), (86.4,335.7,207.9,336.6), (216.9,335.7,328.5,337.5), (379.8,335.7,438.3,336.6), (87.3,336.6,207.9,337.5), (380.7,336.6,438.3,337.5), (89.1,337.5,208.8,338.4), (217.8,337.5,328.5,338.4), (382.5,337.5,438.3,338.4), (90,338.4,208.8,339.3), (217.8,338.4,329.4,339.3), (383.4,338.4,438.3,339.3), (91.8,339.3,209.7,340.2), (218.7,339.3,329.4,340.2), (384.3,339.3,438.3,340.2), (93.6,340.2,209.7,341.1), (218.7,340.2,330.3,341.1), (386.1,340.2,439.2,341.1), (95.4,341.1,210.6,342), (219.6,341.1,330.3,342), (387,341.1,439.2,342), (97.2,342,211.5,342.9), (219.6,342,331.2,342.9), (387.9,342,439.2,342.9), (99,342.9,211.5,343.8), (220.5,342.9,331.2,343.8), (389.7,342.9,439.2,343.8), (100.8,343.8,212.4,344.7), (221.4,343.8,331.2,344.7), (390.6,343.8,439.2,344.7), (102.6,344.7,212.4,345.6), (221.4,344.7,332.1,345.6), (391.5,344.7,439.2,345.6), (104.4,345.6,213.3,346.5), (222.3,345.6,332.1,346.5), (393.3,345.6,439.2,346.5), (106.2,346.5,213.3,347.4), (222.3,346.5,333,347.4), (394.2,346.5,439.2,347.4), (108,347.4,214.2,348.3), (223.2,347.4,333,349.2), (396,347.4,439.2,348.3), (109.8,348.3,214.2,349.2), (396.9,348.3,439.2,349.2), (112.5,349.2,215.1,350.1), (224.1,349.2,333.9,351), (397.8,349.2,439.2,350.1), (114.3,350.1,215.1,351), (399.6,350.1,439.2,351), (117,351,216,351.9), (225,351,334.8,351.9), (400.5,351,439.2,351.9), (118.8,351.9,216,352.8), (225.9,351.9,334.8,353.7), (402.3,351.9,439.2,352.8), (121.5,352.8,216.9,353.7), (403.2,352.8,439.2,353.7), (124.2,353.7,217.8,354.6), (226.8,353.7,335.7,355.5), (405,353.7,439.2,354.6), (126.9,354.6,217.8,355.5), (405.9,354.6,439.2,355.5), (129.6,355.5,218.7,356.4), (227.7,355.5,336.6,356.4), (406.8,355.5,439.2,356.4), (133.2,356.4,218.7,357.3), (228.6,356.4,336.6,358.2), (408.6,356.4,439.2,357.3), (135.9,357.3,219.6,358.2), (409.5,357.3,439.2,358.2), (139.5,358.2,219.6,359.1), (229.5,358.2,337.5,360), (411.3,358.2,439.2,359.1), (144,359.1,220.5,360), (412.2,359.1,439.2,360), (148.5,360,220.5,360.9), (230.4,360,338.4,360.9), (414,360,439.2,360.9), (153,360.9,214.2,361.8), (231.3,360.9,338.4,362.7), (414.9,360.9,439.2,361.8), (160.2,361.8,205.2,362.7), (416.7,361.8,439.2,362.7), (169.2,362.7,193.5,363.6), (232.2,362.7,339.3,364.5), (417.6,362.7,439.2,363.6), (419.4,363.6,439.2,364.5), (233.1,364.5,340.2,365.4), (420.3,364.5,439.2,365.4), (234,365.4,340.2,367.2), (422.1,365.4,439.2,366.3), (423,366.3,439.2,367.2), (234.9,367.2,341.1,369), (424.8,367.2,439.2,368.1), (425.7,368.1,439.2,369), (235.8,369,342,369.9), (427.5,369,439.2,369.9), (236.7,369.9,342,371.7), (429.3,369.9,439.2,370.8), (430.2,370.8,439.2,371.7), (237.6,371.7,342.9,372.6), (432,371.7,439.2,372.6), (238.5,372.6,342.9,374.4), (432.9,372.6,439.2,373.5), (434.7,373.5,439.2,374.4), (239.4,374.4,343.8,376.2), (435.6,374.4,439.2,375.3), (437.4,375.3,439.2,376.2), (240.3,376.2,344.7,377.1), (438.3,376.2,439.2,377.1), (241.2,377.1,344.7,378.9), (242.1,378.9,345.6,379.8), (243,379.8,345.6,381.6), (243.9,381.6,346.5,382.5), (244.8,382.5,346.5,383.4), (244.8,383.4,347.4,384.3), (245.7,384.3,347.4,386.1), (246.6,386.1,348.3,387), (247.5,387,348.3,388.8), (248.4,388.8,349.2,389.7), (249.3,389.7,349.2,390.6), (249.3,390.6,350.1,391.5), (250.2,391.5,350.1,392.4), (251.1,392.4,350.1,393.3), (251.1,393.3,351,394.2), (252,394.2,351,395.1), (252.9,395.1,351,396), (252.9,396,351.9,396.9), (253.8,396.9,351.9,397.8), (254.7,397.8,351.9,398.7), (254.7,398.7,352.8,399.6), (255.6,399.6,352.8,400.5), (256.5,400.5,352.8,401.4), (256.5,401.4,353.7,402.3), (257.4,402.3,353.7,403.2), (258.3,403.2,353.7,404.1), (259.2,404.1,354.6,405.9), (260.1,405.9,354.6,406.8), (261,406.8,355.5,408.6), (261.9,408.6,355.5,409.5), (262.8,409.5,356.4,411.3), (263.7,411.3,356.4,412.2), (264.6,412.2,357.3,414), (265.5,414,357.3,414.9), (266.4,414.9,358.2,415.8), (267.3,415.8,358.2,417.6), (268.2,417.6,358.2,418.5), (269.1,418.5,359.1,420.3), (270,420.3,359.1,421.2), (270.9,421.2,360,422.1), (271.8,422.1,360,423.9), (272.7,423.9,360.9,424.8), (273.6,424.8,360.9,426.6), (274.5,426.6,360.9,427.5), (275.4,427.5,361.8,428.4), (276.3,428.4,361.8,430.2), (277.2,430.2,361.8,431.1), (278.1,431.1,362.7,432), (279,432,362.7,433.8), (279.9,433.8,362.7,434.7), (280.8,434.7,363.6,436.5), (281.7,436.5,363.6,437.4), (282.6,437.4,363.6,438.3), (283.5,438.3,364.5,440.1), (284.4,440.1,364.5,441), (285.3,441,364.5,441.9), (286.2,441.9,364.5,443.7), (287.1,443.7,365.4,444.6), (288,444.6,365.4,445.5), (288.9,445.5,365.4,447.3), (289.8,447.3,365.4,448.2), (290.7,448.2,365.4,449.1), (291.6,449.1,366.3,450.9), (292.5,450.9,366.3,451.8), (293.4,451.8,366.3,452.7), (294.3,452.7,366.3,454.5), (295.2,454.5,366.3,455.4), (296.1,455.4,366.3,456.3), (297,456.3,366.3,457.2), (297.9,457.2,366.3,459), (298.8,459,366.3,459.9), (299.7,459.9,367.2,460.8), (300.6,460.8,367.2,462.6), (301.5,462.6,367.2,463.5), (302.4,463.5,367.2,464.4), (303.3,464.4,366.3,466.2), (304.2,466.2,366.3,467.1), (305.1,467.1,366.3,468), (306,468,366.3,468.9), (306.9,468.9,366.3,470.7), (307.8,470.7,366.3,471.6), (308.7,471.6,366.3,472.5), (309.6,472.5,366.3,474.3), (310.5,474.3,366.3,475.2), (311.4,475.2,366.3,476.1), (312.3,476.1,365.4,477), (313.2,477,365.4,478.8), (314.1,478.8,365.4,479.7), (315,479.7,365.4,480.6), (315.9,480.6,365.4,481.5), (316.8,481.5,365.4,482.4), (316.8,482.4,364.5,483.3), (317.7,483.3,364.5,484.2), (318.6,484.2,364.5,485.1), (319.5,485.1,364.5,486), (320.4,486,364.5,486.9), (320.4,486.9,363.6,487.8), (321.3,487.8,363.6,488.7), (322.2,488.7,363.6,489.6), (323.1,489.6,363.6,490.5), (324,490.5,363.6,491.4), (324,491.4,362.7,492.3), (324.9,492.3,362.7,493.2), (325.8,493.2,362.7,494.1), (326.7,494.1,362.7,495), (327.6,495,362.7,495.9), (327.6,495.9,361.8,496.8), (328.5,496.8,361.8,497.7), (329.4,497.7,361.8,498.6), (330.3,498.6,361.8,499.5), (331.2,499.5,360.9,501.3), (332.1,501.3,360.9,502.2), (333,502.2,360.9,503.1), (333.9,503.1,360,504), (334.8,504,360,505.8), (335.7,505.8,360,506.7), (336.6,506.7,359.1,507.6), (337.5,507.6,359.1,508.5), (338.4,508.5,359.1,510.3), (339.3,510.3,358.2,511.2), (340.2,511.2,358.2,512.1), (341.1,512.1,358.2,513), (342,513,358.2,513.9), (342.9,513.9,357.3,515.7), (343.8,515.7,357.3,516.6), (344.7,516.6,357.3,517.5), (345.6,517.5,356.4,518.4), (346.5,518.4,356.4,520.2), (347.4,520.2,355.5,521.1), (348.3,521.1,355.5,522), (349.2,522,355.5,522.9), (350.1,522.9,355.5,523.8), (351,523.8,354.6,525.6), (351.9,525.6,354.6,526.5), (352.8,526.5,354.6,527.4)])
R(avali_logo, L152_5, [(0,0,450,528.3)])

lib.write_gds('avali_logo.gds')
